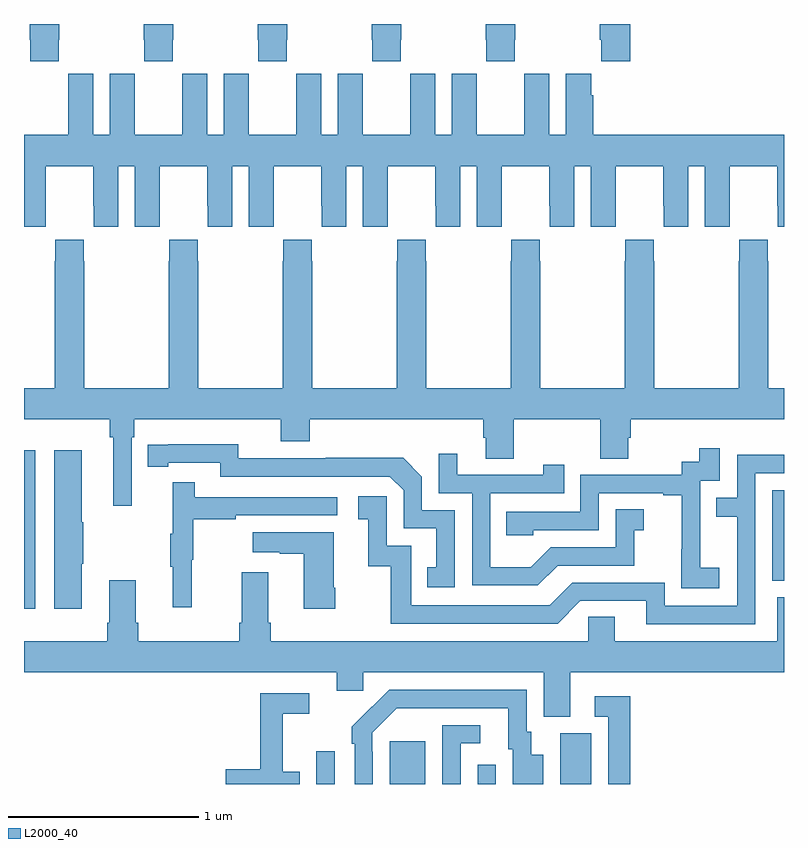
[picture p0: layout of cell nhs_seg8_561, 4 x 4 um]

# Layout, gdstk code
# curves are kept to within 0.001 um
import gdstk
lib = gdstk.Library(unit=1e-6, precision=1e-09)
def R(c, l, rs):  # rectangles x0, y0, x1, y1
    for r in rs: c.add(gdstk.rectangle(r[:2], r[2:], *l))
def P(c, l, *ps):  # polygons
    for p in ps: c.add(gdstk.Polygon(p, *l))
L2000_40 = (2000, 40)

nhs_seg8_561 = lib.new_cell('nhs_seg8_561')
R(nhs_seg8_561, L2000_40, [(148.539,1127.9,148.635,1128.073), (148.925,1127.9,149.113,1128.124), (149.388,1127.9,149.484,1128.001), (149.822,1127.9,149.986,1128.168), (147,1128.822,147.058,1129.657), (150.939,1128.969,151,1129.446)])
P(nhs_seg8_561, L2000_40, [(147.183,1131.817),(147.186,1131.817),(147.186,1131.9),(147.031,1131.9),(147.031,1131.817),(147.033,1131.817),(147.033,1131.705),(147.183,1131.705)],
  [(147.783,1131.817),(147.786,1131.817),(147.786,1131.9),(147.631,1131.9),(147.631,1131.817),(147.633,1131.817),(147.633,1131.705),(147.783,1131.705)],
  [(148.383,1131.817),(148.386,1131.817),(148.386,1131.9),(148.231,1131.9),(148.231,1131.817),(148.233,1131.817),(148.233,1131.705),(148.383,1131.705)],
  [(148.983,1131.817),(148.986,1131.817),(148.986,1131.9),(148.831,1131.9),(148.831,1131.817),(148.833,1131.817),(148.833,1131.705),(148.983,1131.705)],
  [(149.583,1131.817),(149.586,1131.817),(149.586,1131.9),(149.431,1131.9),(149.431,1131.817),(149.433,1131.817),(149.433,1131.705),(149.583,1131.705)],
  [(150.191,1131.9),(150.031,1131.9),(150.031,1131.817),(150.037,1131.817),(150.037,1131.705),(150.191,1131.705)],
  [(149.986,1131.524),(149.986,1131.637),(149.852,1131.637),(149.852,1131.316),(149.764,1131.316),(149.764,1131.637),(149.634,1131.637),(149.634,1131.524),(149.633,1131.524),(149.633,1131.316),(149.383,1131.316),(149.383,1131.524),(149.382,1131.524),(149.382,1131.637),(149.252,1131.637),(149.252,1131.316),(149.164,1131.316),(149.164,1131.637),(149.034,1131.637),(149.034,1131.524),(149.033,1131.524),(149.033,1131.316),(148.783,1131.316),(148.783,1131.524),(148.782,1131.524),(148.782,1131.637),(148.652,1131.637),(148.652,1131.316),(148.564,1131.316),(148.564,1131.637),(148.434,1131.637),(148.434,1131.524),(148.433,1131.524),(148.433,1131.316),(148.183,1131.316),(148.183,1131.524),(148.182,1131.524),(148.182,1131.637),(148.052,1131.637),(148.052,1131.316),(147.964,1131.316),(147.964,1131.637),(147.834,1131.637),(147.834,1131.524),(147.833,1131.524),(147.833,1131.316),(147.583,1131.316),(147.583,1131.524),(147.582,1131.524),(147.582,1131.637),(147.452,1131.637),(147.452,1131.316),(147.364,1131.316),(147.364,1131.637),(147.234,1131.637),(147.234,1131.524),(147.233,1131.524),(147.233,1131.316),(147,1131.316),(147,1130.832),(147.114,1130.832),(147.114,1130.944),(147.115,1130.944),(147.115,1131.152),(147.365,1131.152),(147.365,1130.944),(147.366,1130.944),(147.366,1130.832),(147.496,1130.832),(147.496,1131.152),(147.584,1131.152),(147.584,1130.832),(147.714,1130.832),(147.714,1130.944),(147.715,1130.944),(147.715,1131.152),(147.965,1131.152),(147.965,1130.944),(147.966,1130.944),(147.966,1130.832),(148.096,1130.832),(148.096,1131.152),(148.184,1131.152),(148.184,1130.832),(148.314,1130.832),(148.314,1130.944),(148.315,1130.944),(148.315,1131.152),(148.565,1131.152),(148.565,1130.944),(148.566,1130.944),(148.566,1130.832),(148.696,1130.832),(148.696,1131.152),(148.784,1131.152),(148.784,1130.832),(148.914,1130.832),(148.914,1130.944),(148.915,1130.944),(148.915,1131.152),(149.165,1131.152),(149.165,1130.944),(149.166,1130.944),(149.166,1130.832),(149.296,1130.832),(149.296,1131.152),(149.384,1131.152),(149.384,1130.832),(149.514,1130.832),(149.514,1130.944),(149.515,1130.944),(149.515,1131.152),(149.765,1131.152),(149.765,1130.944),(149.766,1130.944),(149.766,1130.832),(149.896,1130.832),(149.896,1131.152),(149.984,1131.152),(149.984,1130.832),(150.114,1130.832),(150.114,1130.944),(150.115,1130.944),(150.115,1131.152),(150.365,1131.152),(150.365,1130.944),(150.366,1130.944),(150.366,1130.832),(150.496,1130.832),(150.496,1131.152),(150.584,1131.152),(150.584,1130.832),(150.714,1130.832),(150.714,1130.944),(150.715,1130.944),(150.715,1131.152),(150.965,1131.152),(150.965,1130.944),(150.966,1130.944),(150.966,1130.832),(151,1130.832),(151,1131.316),(149.996,1131.316),(149.996,1131.524)],
  [(147.918,1130.651),(147.915,1130.651),(147.915,1130.764),(147.765,1130.764),(147.765,1130.651),(147.763,1130.651),(147.763,1129.984),(147.318,1129.984),(147.318,1130.651),(147.315,1130.651),(147.315,1130.764),(147.165,1130.764),(147.165,1130.651),(147.163,1130.651),(147.163,1129.984),(147,1129.984),(147,1129.82),(147.451,1129.82),(147.451,1129.724),(147.47,1129.724),(147.47,1129.365),(147.567,1129.365),(147.567,1129.724),(147.581,1129.724),(147.581,1129.82),(148.352,1129.82),(148.352,1129.703),(148.505,1129.703),(148.505,1129.82),(149.417,1129.82),(149.417,1129.722),(149.429,1129.722),(149.429,1129.612),(149.577,1129.612),(149.577,1129.82),(150.034,1129.82),(150.034,1129.612),(150.181,1129.612),(150.181,1129.722),(150.194,1129.722),(150.194,1129.82),(151,1129.82),(151,1129.984),(150.918,1129.984),(150.918,1130.651),(150.915,1130.651),(150.915,1130.764),(150.765,1130.764),(150.765,1130.651),(150.763,1130.651),(150.763,1129.984),(150.318,1129.984),(150.318,1130.651),(150.315,1130.651),(150.315,1130.764),(150.165,1130.764),(150.165,1130.651),(150.163,1130.651),(150.163,1129.984),(149.718,1129.984),(149.718,1130.651),(149.715,1130.651),(149.715,1130.764),(149.565,1130.764),(149.565,1130.651),(149.563,1130.651),(149.563,1129.984),(149.118,1129.984),(149.118,1130.651),(149.115,1130.651),(149.115,1130.764),(148.965,1130.764),(148.965,1130.651),(148.963,1130.651),(148.963,1129.984),(148.518,1129.984),(148.518,1130.651),(148.515,1130.651),(148.515,1130.764),(148.365,1130.764),(148.365,1130.651),(148.363,1130.651),(148.363,1129.984),(147.918,1129.984)],
  [(149.268,1129.341),(149.094,1129.341),(149.094,1129.518),(148.996,1129.616),(148.588,1129.616),(148.588,1129.614),(148.128,1129.614),(148.128,1129.687),(147.652,1129.686),(147.652,1129.57),(147.76,1129.57),(147.76,1129.59),(148.032,1129.59),(148.032,1129.518),(148.926,1129.518),(148.998,1129.446),(148.998,1129.245),(149.171,1129.245),(149.171,1129.041),(149.122,1129.041),(149.122,1128.936),(149.268,1128.936)],
  [(150.658,1129.039),(150.56,1129.039),(150.56,1129.268),(150.558,1129.268),(150.558,1129.497),(150.663,1129.497),(150.663,1129.666),(150.555,1129.666),(150.555,1129.596),(150.462,1129.596),(150.462,1129.527),(149.928,1129.527),(149.928,1129.332),(149.539,1129.332),(149.539,1129.209),(149.679,1129.209),(149.679,1129.236),(150.024,1129.236),(150.024,1129.431),(150.365,1129.431),(150.365,1129.419),(150.461,1129.419),(150.461,1129.135),(150.46,1129.135),(150.46,1128.929),(150.658,1128.929)],
  [(147.304,1129.06),(147.312,1129.06),(147.312,1129.277),(147.304,1129.277),(147.304,1129.657),(147.158,1129.657),(147.158,1128.822),(147.304,1128.822)],
  [(149.809,1129.05),(150.213,1129.05),(150.213,1129.235),(150.262,1129.235),(150.262,1129.345),(150.114,1129.345),(150.114,1129.146),(149.772,1129.146),(149.668,1129.042),(149.454,1129.042),(149.454,1129.431),(149.843,1129.431),(149.843,1129.579),(149.732,1129.579),(149.732,1129.527),(149.281,1129.527),(149.281,1129.639),(149.184,1129.639),(149.184,1129.431),(149.358,1129.431),(149.358,1128.945),(149.704,1128.945)],
  [(150.849,1129.536),(151,1129.536),(151,1129.632),(150.753,1129.632),(150.753,1129.407),(150.643,1129.407),(150.643,1129.306),(150.753,1129.306),(150.753,1128.837),(150.372,1128.837),(150.372,1128.96),(149.886,1128.96),(149.766,1128.84),(149.037,1128.84),(149.037,1129.155),(148.908,1129.155),(148.908,1129.414),(148.758,1129.414),(148.758,1129.293),(148.811,1129.293),(148.811,1129.047),(148.929,1129.047),(148.929,1128.744),(149.808,1128.744),(149.928,1128.864),(150.275,1128.864),(150.275,1128.741),(150.849,1128.741)],
  [(147.884,1129.08),(147.892,1129.08),(147.892,1129.294),(148.115,1129.294),(148.115,1129.314),(148.648,1129.314),(148.648,1129.41),(147.899,1129.41),(147.899,1129.489),(147.782,1129.489),(147.782,1129.217),(147.771,1129.217),(147.771,1129.043),(147.782,1129.043),(147.782,1128.831),(147.884,1128.831)],
  [(148.638,1128.934),(148.63,1128.934),(148.63,1129.225),(148.203,1129.225),(148.203,1129.121),(148.346,1129.121),(148.346,1129.111),(148.472,1129.111),(148.472,1128.822),(148.638,1128.822)],
  [(149.875,1128.488),(151,1128.488),(151,1128.884),(150.965,1128.884),(150.965,1128.652),(150.109,1128.652),(150.109,1128.779),(149.97,1128.779),(149.97,1128.652),(148.298,1128.652),(148.298,1128.748),(148.285,1128.748),(148.285,1129.015),(148.145,1129.015),(148.145,1128.748),(148.133,1128.748),(148.133,1128.652),(147.602,1128.652),(147.602,1128.748),(147.589,1128.748),(147.589,1128.973),(147.449,1128.973),(147.449,1128.748),(147.437,1128.748),(147.437,1128.652),(147,1128.652),(147,1128.488),(148.646,1128.488),(148.646,1128.39),(148.785,1128.39),(148.785,1128.488),(149.735,1128.488),(149.735,1128.253),(149.875,1128.253)],
  [(148.836,1128.071),(148.833,1128.071),(148.833,1128.171),(148.962,1128.3),(149.549,1128.3),(149.549,1128.084),(149.573,1128.084),(149.573,1127.9),(149.734,1127.9),(149.734,1128.055),(149.671,1128.055),(149.671,1128.174),(149.646,1128.174),(149.646,1128.396),(148.922,1128.396),(148.725,1128.201),(148.725,1128.113),(148.74,1128.113),(148.74,1127.9),(148.836,1127.9)],
  [(148.45,1127.965),(148.361,1127.965),(148.361,1128.27),(148.501,1128.27),(148.501,1128.378),(148.243,1128.378),(148.243,1127.978),(148.062,1127.978),(148.062,1127.9),(148.45,1127.9)],
  [(150.191,1128.361),(150.003,1128.361),(150.003,1128.255),(150.075,1128.255),(150.075,1127.9),(150.191,1127.9)],
  [(149.298,1128.114),(149.401,1128.114),(149.401,1128.21),(149.202,1128.21),(149.202,1127.9),(149.298,1127.9)])

lib.write_gds('nhs_seg8_561.gds')
